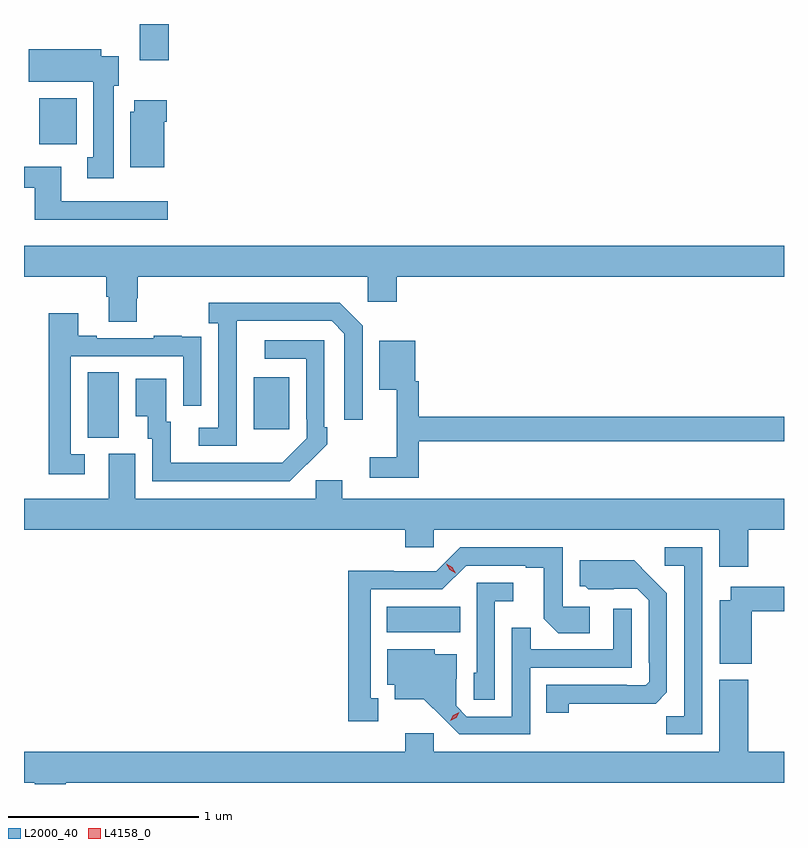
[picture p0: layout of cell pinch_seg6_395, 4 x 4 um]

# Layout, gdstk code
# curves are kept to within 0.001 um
import gdstk
lib = gdstk.Library(unit=1e-6, precision=1e-09)
def R(c, l, rs):  # rectangles x0, y0, x1, y1
    for r in rs: c.add(gdstk.rectangle(r[:2], r[2:], *l))
def P(c, l, *ps):  # polygons
    for p in ps: c.add(gdstk.Polygon(p, *l))
L2000_40 = (2000, 40)
L4158_0 = (4158, 0)

pinch_seg6_395 = lib.new_cell('pinch_seg6_395')
R(pinch_seg6_395, L2000_40, [(684.155,933.476,684.542,933.61), (682.58,934.501,682.744,934.844), (683.453,934.545,683.641,934.819), (682.325,936.044,682.522,936.286), (682.853,936.486,683.006,936.678)])
P(pinch_seg6_395, L2000_40, [(682.717,936.354),(682.744,936.354),(682.744,936.508),(682.651,936.508),(682.651,936.544),(682.271,936.544),(682.271,936.374),(682.61,936.374),(682.61,935.978),(682.577,935.978),(682.577,935.865),(682.717,935.865)],
  [(682.984,936.164),(682.997,936.164),(682.997,936.277),(682.826,936.277),(682.826,936.216),(682.805,936.216),(682.805,935.924),(682.984,935.924)],
  [(683.002,935.745),(682.441,935.745),(682.441,935.926),(682.245,935.926),(682.245,935.817),(682.301,935.817),(682.301,935.648),(683.002,935.648)],
  [(682.839,935.235),(682.844,935.235),(682.844,935.348),(684.054,935.348),(684.054,935.217),(684.206,935.217),(684.206,935.348),(686.245,935.348),(686.245,935.512),(682.245,935.512),(682.245,935.348),(682.679,935.348),(682.679,935.242),(682.691,935.242),(682.691,935.11),(682.839,935.11)],
  [(683.364,934.915),(683.365,935.115),(683.865,935.115),(683.931,935.049),(683.931,934.596),(684.027,934.596),(684.027,935.091),(683.906,935.212),(683.217,935.212),(683.217,935.102),(683.268,935.102),(683.268,934.554),(683.166,934.554),(683.166,934.458),(683.364,934.458)],
  [(682.564,934.413),(682.491,934.413),(682.491,934.929),(683.082,934.929),(683.082,934.668),(683.178,934.668),(683.178,934.922),(683.177,934.922),(683.177,935.031),(683.075,935.031),(683.075,935.038),(682.927,935.038),(682.927,935.025),(682.627,935.025),(682.627,935.038),(682.531,935.038),(682.531,935.155),(682.375,935.155),(682.375,934.308),(682.564,934.308)],
  [(683.735,934.363),(683.736,934.362),(683.841,934.467),(683.841,934.555),(683.826,934.555),(683.826,935.013),(683.511,935.013),(683.511,934.917),(683.73,934.917),(683.73,934.597),(683.733,934.597),(683.733,934.497),(683.605,934.369),(683.017,934.368),(683.017,934.584),(682.993,934.584),(682.993,934.81),(682.832,934.81),(682.832,934.613),(682.895,934.613),(682.895,934.494),(682.92,934.494),(682.92,934.272),(683.644,934.272)],
  [(684.323,934.482),(686.245,934.482),(686.245,934.61),(684.323,934.61),(684.323,934.797),(684.304,934.797),(684.304,935.011),(684.116,935.011),(684.116,934.754),(684.206,934.754),(684.206,934.399),(684.066,934.399),(684.066,934.29),(684.323,934.29)],
  [(686.057,934.016),(686.245,934.016),(686.245,934.18),(683.92,934.18),(683.92,934.278),(683.781,934.278),(683.781,934.18),(682.831,934.18),(682.831,934.416),(682.691,934.416),(682.691,934.18),(682.245,934.18),(682.245,934.016),(684.251,934.016),(684.251,933.923),(684.402,933.923),(684.402,934.016),(685.904,934.016),(685.904,933.822),(686.057,933.822)],
  [(685.815,933.924),(685.617,933.924),(685.617,933.828),(685.719,933.828),(685.719,933.035),(685.624,933.035),(685.624,932.94),(685.815,932.94)],
  [(684.109,933.129),(684.07,933.129),(684.07,933.702),(684.447,933.702),(684.573,933.828),(684.887,933.828),(684.887,933.816),(684.981,933.816),(684.981,933.548),(685.057,933.472),(685.222,933.472),(685.222,933.612),(685.08,933.612),(685.08,933.924),(684.54,933.924),(684.414,933.798),(684.192,933.798),(684.192,933.8),(683.952,933.8),(683.952,933.009),(684.109,933.009)],
  [(685.113,933.1),(685.57,933.101),(685.629,933.16),(685.629,933.682),(685.457,933.856),(685.169,933.856),(685.169,933.72),(685.2,933.72),(685.216,933.704),(685.473,933.705),(685.533,933.645),(685.533,933.316),(685.536,933.316),(685.536,933.216),(685.518,933.198),(685.418,933.198),(685.418,933.201),(684.994,933.201),(684.994,933.054),(685.113,933.054)],
  [(684.723,933.641),(684.82,933.641),(684.82,933.738),(684.627,933.738),(684.627,933.264),(684.612,933.264),(684.612,933.121),(684.723,933.121)],
  [(686.074,933.586),(686.245,933.586),(686.245,933.715),(685.964,933.715),(685.964,933.646),(685.907,933.646),(685.907,933.311),(686.074,933.311)],
  [(684.909,933.291),(685.443,933.291),(685.443,933.601),(685.347,933.601),(685.347,933.387),(684.911,933.387),(684.911,933.5),(684.813,933.5),(684.813,933.033),(684.576,933.033),(684.519,933.09),(684.519,933.232),(684.523,933.232),(684.523,933.361),(684.408,933.361),(684.408,933.388),(684.158,933.388),(684.158,933.201),(684.197,933.201),(684.197,933.125),(684.349,933.125),(684.536,932.94),(684.909,932.94)],
  [(682.466,932.684),(686.245,932.684),(686.245,932.848),(686.057,932.848),(686.057,933.226),(685.904,933.226),(685.904,932.848),(684.402,932.848),(684.402,932.944),(684.251,932.944),(684.251,932.848),(682.245,932.848),(682.245,932.684),(682.301,932.684),(682.301,932.678),(682.466,932.678)])
P(pinch_seg6_395, L4158_0, [(684.488,933.011),(684.488,933.011),(684.505,933.041),(684.536,933.056),(684.536,933.056),(684.536,933.056),(684.519,933.026),(684.489,933.011)],
  [(684.518,933.787),(684.486,933.805),(684.468,933.837),(684.468,933.838),(684.468,933.838),(684.5,933.819),(684.518,933.787),(684.518,933.787)])

lib.write_gds('pinch_seg6_395.gds')
